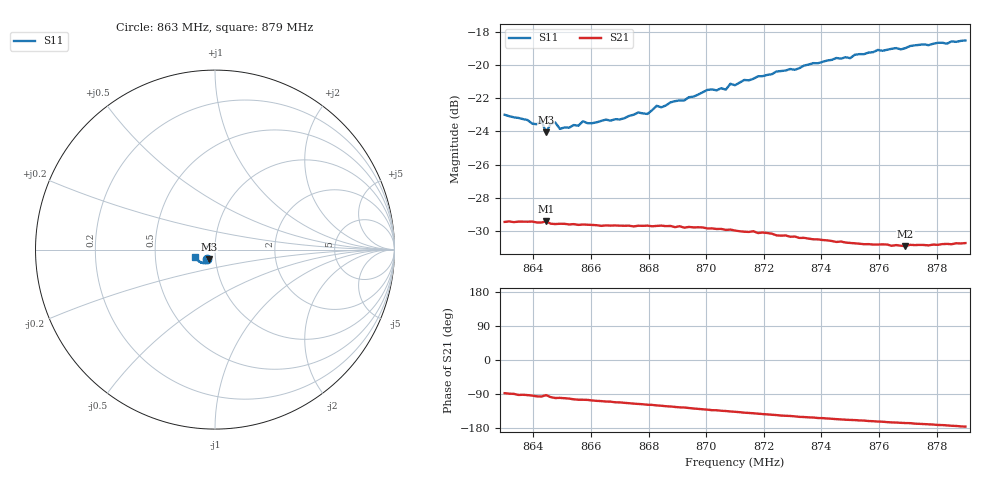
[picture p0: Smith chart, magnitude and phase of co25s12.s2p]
# HZ S RI R 50
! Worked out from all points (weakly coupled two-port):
!   101 points, 863 MHz to 879 MHz, reference 50 ohm
!   highest |S21| = -29.42 dB at 864.44 MHz (marker M1); lowest = -30.9 dB at 876.92 MHz (marker M2)
!   lowest |S11| = -24.1 dB at 864.44 MHz (marker M3), VSWR 1.13, Z = 46.5 - j4.93 ohm
!   |S11| at or under -10 dB: start of sweep to end of sweep
!   S12 and S22 are empty: the file has one direction only
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8.63e8  -0.0465 -0.0535  0.00142 -0.0336  0 0  0 0
8.6396e8  -0.0406 -0.0528  -0.00239 -0.0337  0 0  0 0
8.6428e8  -0.0396 -0.0551  -0.00377 -0.0333  0 0  0 0
8.6444e8  -0.0337 -0.0528  -0.00157 -0.0338  0 0  0 0
8.646e8  -0.0382 -0.0545  -0.00463 -0.0329  0 0  0 0
8.6476e8  -0.0393 -0.0544  -0.00597 -0.0326  0 0  0 0
8.6492e8  -0.0362 -0.053  -0.00573 -0.0328  0 0  0 0
8.6556e8  -0.0354 -0.0553  -0.00844 -0.0319  0 0  0 0
8.6572e8  -0.0362 -0.0572  -0.00847 -0.032  0 0  0 0
8.67e8  -0.0343 -0.0593  -0.0122 -0.0304  0 0  0 0
8.6764e8  -0.0354 -0.0627  -0.0144 -0.0295  0 0  0 0
8.6796e8  -0.0339 -0.0626  -0.0154 -0.029  0 0  0 0
8.6828e8  -0.0363 -0.0661  -0.0163 -0.0284  0 0  0 0
8.6844e8  -0.0352 -0.0658  -0.0167 -0.0282  0 0  0 0
8.7004e8  -0.0426 -0.0725  -0.0211 -0.0243  0 0  0 0
8.7068e8  -0.0443 -0.0717  -0.0224 -0.0226  0 0  0 0
8.7084e8  -0.0483 -0.0733  -0.0229 -0.0222  0 0  0 0
8.71e8  -0.0467 -0.0733  -0.0231 -0.0218  0 0  0 0
8.7372e8  -0.0683 -0.0749  -0.0263 -0.0141  0 0  0 0
8.7644e8  -0.0931 -0.0621  -0.0275 -0.00755  0 0  0 0
8.7692e8  -0.0959 -0.0587  -0.0277 -0.0067  0 0  0 0
8.79e8  -0.1118 -0.0394  -0.029 -0.00209  0 0  0 0
